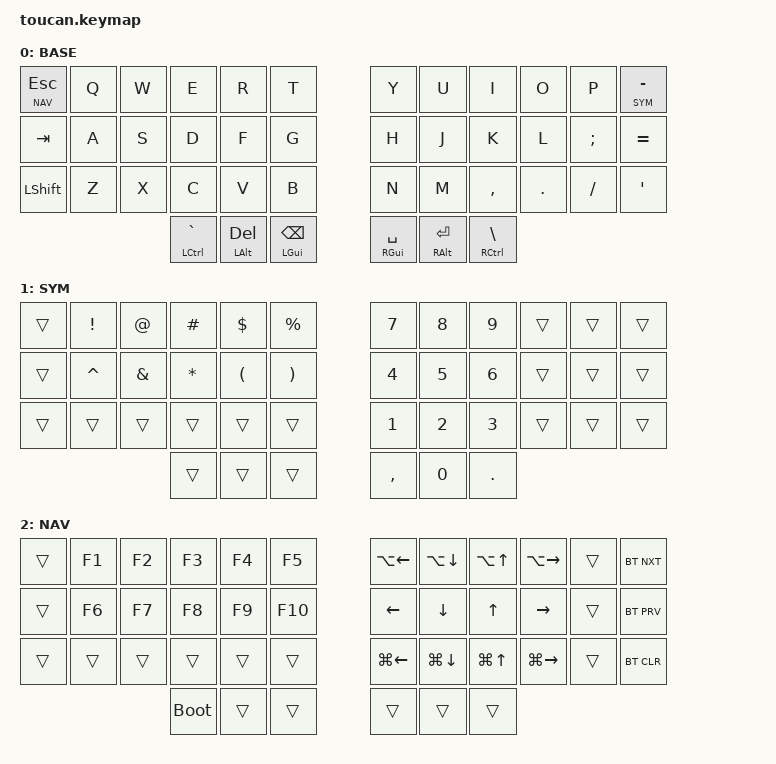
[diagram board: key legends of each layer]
/*
 * ZMK keymap for Toucan — port of timfee QMK userspace keymap.
 *
 * Behaviour notes:
 *   - Chordal hold: same-hand mod-tap chords always tap, cross-hand
 *     chords resolve via flavor + release order (mirrors the
 *     hold-trigger-key-positions Miryoku style).
 *   - Cross-hand fast-typing rolls (the QMK CHORDAL_CROSS_HAND_MS fix)
 *     are caught by require-prior-idle-ms: if anything was typed in
 *     the last 150 ms, the mod-tap taps regardless of hand.
 *   - Per-key tapping-term overrides for thumbs match the QMK values:
 *       GU_BSP=100, AL_DEL=130, AL_ENT=130, GU_SPC=150
 *       CT_GRV/CT_BSL/layer-taps fall back to the 200 ms default.
 */

#include <behaviors.dtsi>
#include <dt-bindings/zmk/keys.h>
#include <dt-bindings/zmk/bt.h>
#include <dt-bindings/zmk/outputs.h>

#define BASE 0
#define SYM  1
#define NAV  2

/*
 * Toucan key positions (4 rows × 12 cols, row 3 has only 6 thumb keys):
 *
 *   0  1  2  3  4  5      6  7  8  9 10 11
 *  12 13 14 15 16 17     18 19 20 21 22 23
 *  24 25 26 27 28 29     30 31 32 33 34 35
 *           36 37 38     39 40 41
 */
#define LH_KEYS  0  1  2  3  4  5 12 13 14 15 16 17 24 25 26 27 28 29 36 37 38
#define RH_KEYS  6  7  8  9 10 11 18 19 20 21 22 23 30 31 32 33 34 35 39 40 41

/ {
    behaviors {
        /* Left-hand mod-tap: hold only if a right-hand key follows. */
        lhm: left_hand_mod_tap {
            compatible = "zmk,behavior-hold-tap";
            #binding-cells = <2>;
            flavor = "balanced";
            tapping-term-ms = <200>;
            quick-tap-ms = <90>;
            require-prior-idle-ms = <150>;
            hold-trigger-key-positions = <RH_KEYS>;
            hold-trigger-on-release;
            bindings = <&kp>, <&kp>;
        };

        /* Right-hand mod-tap: hold only if a left-hand key follows. */
        rhm: right_hand_mod_tap {
            compatible = "zmk,behavior-hold-tap";
            #binding-cells = <2>;
            flavor = "balanced";
            tapping-term-ms = <200>;
            quick-tap-ms = <90>;
            require-prior-idle-ms = <150>;
            hold-trigger-key-positions = <LH_KEYS>;
            hold-trigger-on-release;
            bindings = <&kp>, <&kp>;
        };

        /* GU_BSP: shorter tapping-term (QMK had 100 ms). */
        lhm_bsp: left_hand_mt_bsp {
            compatible = "zmk,behavior-hold-tap";
            #binding-cells = <2>;
            flavor = "balanced";
            tapping-term-ms = <100>;
            quick-tap-ms = <90>;
            require-prior-idle-ms = <150>;
            hold-trigger-key-positions = <RH_KEYS>;
            hold-trigger-on-release;
            bindings = <&kp>, <&kp>;
        };

        /* AL_DEL / AL_ENT: tapping-term 130 ms. */
        lhm_alt: left_hand_mt_alt {
            compatible = "zmk,behavior-hold-tap";
            #binding-cells = <2>;
            flavor = "balanced";
            tapping-term-ms = <130>;
            quick-tap-ms = <90>;
            require-prior-idle-ms = <150>;
            hold-trigger-key-positions = <RH_KEYS>;
            hold-trigger-on-release;
            bindings = <&kp>, <&kp>;
        };

        rhm_alt: right_hand_mt_alt {
            compatible = "zmk,behavior-hold-tap";
            #binding-cells = <2>;
            flavor = "balanced";
            tapping-term-ms = <130>;
            quick-tap-ms = <90>;
            require-prior-idle-ms = <150>;
            hold-trigger-key-positions = <LH_KEYS>;
            hold-trigger-on-release;
            bindings = <&kp>, <&kp>;
        };

        /* GU_SPC: tapping-term 150 ms. */
        rhm_gui: right_hand_mt_gui {
            compatible = "zmk,behavior-hold-tap";
            #binding-cells = <2>;
            flavor = "balanced";
            tapping-term-ms = <150>;
            quick-tap-ms = <90>;
            require-prior-idle-ms = <150>;
            hold-trigger-key-positions = <LH_KEYS>;
            hold-trigger-on-release;
            bindings = <&kp>, <&kp>;
        };

        /*
         * Layer-taps: no hand restriction (in QMK these always
         * resolved as hold so the layer activated on same-hand keys).
         * Use hold-preferred so any other key during the term engages
         * the layer.
         */
        lt_any: layer_tap_any_hand {
            compatible = "zmk,behavior-hold-tap";
            #binding-cells = <2>;
            flavor = "hold-preferred";
            tapping-term-ms = <200>;
            quick-tap-ms = <90>;
            require-prior-idle-ms = <150>;
            bindings = <&mo>, <&kp>;
        };
    };

    combos {
        compatible = "zmk,combos";

        /* COMBO_TERM was 50 ms in QMK config.h. */
        combo_lparen { timeout-ms = <50>; key-positions = < 4  5>; bindings = <&kp LPAR>; layers = <BASE>; };
        combo_rparen { timeout-ms = <50>; key-positions = < 6  7>; bindings = <&kp RPAR>; layers = <BASE>; };
        combo_lbkt   { timeout-ms = <50>; key-positions = <16 17>; bindings = <&kp LBKT>; layers = <BASE>; };
        combo_rbkt   { timeout-ms = <50>; key-positions = <18 19>; bindings = <&kp RBKT>; layers = <BASE>; };
        combo_lbrace { timeout-ms = <50>; key-positions = <28 29>; bindings = <&kp LBRC>; layers = <BASE>; };
        combo_rbrace { timeout-ms = <50>; key-positions = <30 31>; bindings = <&kp RBRC>; layers = <BASE>; };
        combo_pipe   { timeout-ms = <50>; key-positions = <25 26>; bindings = <&kp PIPE>; layers = <BASE>; };
        combo_bslh   { timeout-ms = <50>; key-positions = <34 35>; bindings = <&kp BSLH>; layers = <BASE>; };
    };

    keymap {
        compatible = "zmk,keymap";

        base {
            display-name = "BASE";
            bindings = <
&lt_any NAV ESC  &kp Q  &kp W  &kp E  &kp R  &kp T          &kp Y  &kp U  &kp I      &kp O    &kp P     &lt_any SYM MINUS
&kp TAB          &kp A  &kp S  &kp D  &kp F  &kp G          &kp H  &kp J  &kp K      &kp L    &kp SEMI  &kp EQUAL
&kp LSHFT        &kp Z  &kp X  &kp C  &kp V  &kp B          &kp N  &kp M  &kp COMMA  &kp DOT  &kp FSLH  &kp SQT
                      &lhm LCTRL GRAVE  &lhm_alt LALT DEL  &lhm_bsp LGUI BSPC    &rhm_gui RGUI SPACE  &rhm_alt RALT RET  &rhm RCTRL BSLH
            >;
        };

        sym {
            display-name = "SYM";
            bindings = <
&trans  &kp EXCL   &kp AT     &kp HASH   &kp DLLR   &kp PRCNT     &kp N7    &kp N8  &kp N9    &trans  &trans  &trans
&trans  &kp CARET  &kp AMPS   &kp ASTRK  &kp LPAR   &kp RPAR      &kp N4    &kp N5  &kp N6    &trans  &trans  &trans
&trans  &trans     &trans     &trans     &trans     &trans        &kp N1    &kp N2  &kp N3    &trans  &trans  &trans
                          &trans     &trans     &trans            &kp COMMA &kp N0  &kp DOT
            >;
        };

        nav {
            display-name = "NAV";
            bindings = <
&trans      &kp F1  &kp F2  &kp F3  &kp F4  &kp F5      &kp LA(LEFT)  &kp LA(DOWN)  &kp LA(UP)  &kp LA(RIGHT)  &trans  &bt BT_NXT
&trans      &kp F6  &kp F7  &kp F8  &kp F9  &kp F10     &kp LEFT      &kp DOWN      &kp UP      &kp RIGHT      &trans  &bt BT_PRV
&trans      &trans  &trans  &trans  &trans  &trans      &kp LG(LEFT)  &kp LG(DOWN)  &kp LG(UP)  &kp LG(RIGHT)  &trans  &bt BT_CLR
                       &bootloader  &trans  &trans      &trans        &trans        &trans
            >;
        };
    };
};
